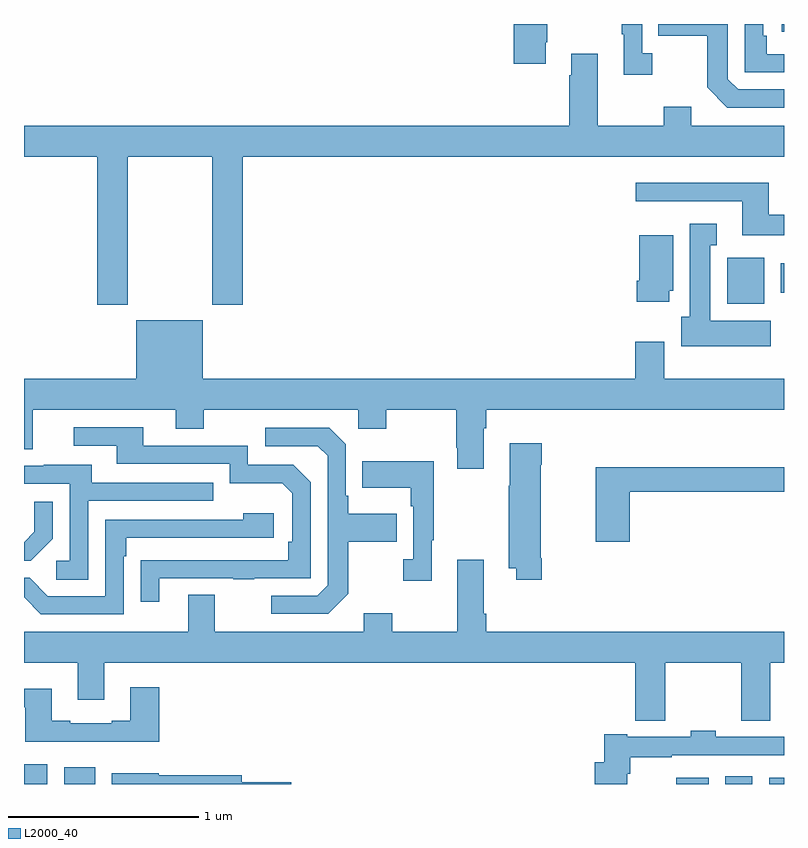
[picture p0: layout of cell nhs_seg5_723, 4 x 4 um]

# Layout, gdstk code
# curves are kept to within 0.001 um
import gdstk
lib = gdstk.Library(unit=1e-6, precision=1e-09)
def R(c, l, rs):  # rectangles x0, y0, x1, y1
    for r in rs: c.add(gdstk.rectangle(r[:2], r[2:], *l))
def P(c, l, *ps):  # polygons
    for p in ps: c.add(gdstk.Polygon(p, *l))
L2000_40 = (2000, 40)

nhs_seg5_723 = lib.new_cell('nhs_seg5_723')
R(nhs_seg5_723, L2000_40, [(157,846.799,157.123,846.904), (157.211,846.799,157.375,846.886), (160.433,846.799,160.603,846.832), (160.691,846.799,160.834,846.841), (160.922,846.799,161,846.832), (160.7,849.326,160.897,849.568), (160.982,849.385,161,849.541), (160.989,850.758,161,850.799)])
P(nhs_seg5_723, L2000_40, [(161,850.455),(160.758,850.455),(160.704,850.509),(160.704,850.799),(160.339,850.799),(160.339,850.738),(160.596,850.738),(160.596,850.465),(160.701,850.359),(161,850.359)],
  [(161,850.641),(160.91,850.641),(160.91,850.738),(160.89,850.738),(160.89,850.799),(160.794,850.799),(160.794,850.545),(161,850.545)],
  [(159.745,850.702),(159.753,850.702),(159.753,850.799),(159.578,850.799),(159.578,850.59),(159.745,850.59)],
  [(160.306,850.646),(160.254,850.646),(160.254,850.799),(160.146,850.799),(160.146,850.745),(160.157,850.745),(160.157,850.533),(160.306,850.533)],
  [(157.545,850.1),(157.99,850.1),(157.99,849.321),(158.15,849.321),(158.15,850.1),(161,850.1),(161,850.264),(160.513,850.264),(160.513,850.363),(160.366,850.363),(160.366,850.264),(160.021,850.264),(160.021,850.642),(159.881,850.642),(159.881,850.529),(159.869,850.529),(159.869,850.264),(157,850.264),(157,850.1),(157.385,850.1),(157.385,849.321),(157.545,849.321)],
  [(161,849.796),(160.921,849.796),(160.921,849.964),(160.221,849.964),(160.221,849.867),(160.781,849.867),(160.781,849.686),(161,849.686)],
  [(160.93,849.238),(160.612,849.238),(160.612,849.635),(160.645,849.635),(160.645,849.748),(160.505,849.748),(160.505,849.258),(160.46,849.258),(160.46,849.104),(160.93,849.104)],
  [(160.396,849.396),(160.417,849.396),(160.417,849.688),(160.238,849.688),(160.238,849.448),(160.226,849.448),(160.226,849.336),(160.396,849.336)],
  [(159.421,848.672),(159.434,848.672),(159.434,848.768),(161,848.768),(161,848.932),(160.369,848.932),(160.369,849.127),(160.217,849.127),(160.217,848.932),(157.942,848.932),(157.942,849.241),(157.592,849.241),(157.592,848.932),(157,848.932),(157,848.56),(157.045,848.56),(157.045,848.768),(157.799,848.768),(157.799,848.669),(157.947,848.669),(157.947,848.768),(158.76,848.768),(158.76,848.669),(158.907,848.669),(158.907,848.768),(159.274,848.768),(159.274,848.569),(159.281,848.569),(159.281,848.457),(159.421,848.457)],
  [(157.711,847.881),(158.101,847.881),(158.101,847.876),(158.213,847.876),(158.213,847.881),(158.508,847.881),(158.508,848.388),(158.418,848.478),(158.178,848.478),(158.178,848.58),(157.627,848.58),(157.627,848.676),(157.263,848.676),(157.263,848.58),(157.487,848.58),(157.487,848.484),(158.082,848.484),(158.082,848.381),(158.359,848.381),(158.412,848.328),(158.412,848.074),(158.392,848.074),(158.392,847.977),(157.615,847.976),(157.615,847.758),(157.711,847.758)],
  [(158.707,847.801),(158.707,848.074),(158.963,848.074),(158.963,848.221),(158.707,848.221),(158.707,848.317),(158.694,848.317),(158.694,848.586),(158.607,848.673),(158.271,848.673),(158.271,848.577),(158.547,848.577),(158.598,848.526),(158.598,847.845),(158.544,847.791),(158.301,847.791),(158.301,847.695),(158.601,847.695)],
  [(159.725,847.987),(159.72,847.987),(159.72,848.48),(159.725,848.48),(159.725,848.593),(159.557,848.593),(159.557,848.369),(159.55,848.369),(159.55,847.934),(159.59,847.934),(159.59,847.875),(159.725,847.875)],
  [(159.145,848.081),(159.157,848.081),(159.157,848.497),(158.779,848.497),(158.779,848.357),(159.036,848.357),(159.036,848.261),(159.048,848.261),(159.048,847.982),(158.997,847.982),(158.997,847.869),(159.145,847.869)],
  [(157.338,848.289),(157.997,848.289),(157.997,848.385),(157.357,848.385),(157.357,848.479),(157.103,848.479),(157.103,848.475),(157,848.475),(157,848.379),(157.242,848.379),(157.242,847.974),(157.17,847.974),(157.17,847.873),(157.338,847.873)],
  [(160.187,848.338),(161,848.338),(161,848.467),(160.009,848.467),(160.009,848.073),(160.187,848.073)],
  [(157.152,848.09),(157.152,848.284),(157.055,848.284),(157.055,848.127),(157,848.072),(157,847.974),(157.036,847.974)],
  [(157.524,847.997),(157.537,847.997),(157.537,848.094),(158.314,848.094),(158.314,848.224),(158.153,848.224),(158.153,848.19),(157.428,848.19),(157.428,847.788),(157.125,847.788),(157.029,847.884),(157,847.884),(157,847.781),(157.089,847.692),(157.524,847.692)],
  [(160.376,847.436),(160.774,847.436),(160.774,847.132),(160.928,847.132),(160.928,847.436),(161,847.436),(161,847.6),(159.434,847.6),(159.434,847.696),(159.421,847.696),(159.421,847.978),(159.281,847.978),(159.281,847.6),(158.937,847.6),(158.937,847.699),(158.789,847.699),(158.789,847.6),(158.005,847.6),(158.005,847.795),(157.865,847.795),(157.865,847.6),(157,847.6),(157,847.436),(157.283,847.436),(157.283,847.242),(157.423,847.242),(157.423,847.436),(160.217,847.436),(160.217,847.132),(160.376,847.132)],
  [(157.712,847.309),(157.559,847.309),(157.559,847.132),(157.463,847.132),(157.463,847.119),(157.243,847.119),(157.243,847.132),(157.147,847.132),(157.147,847.3),(157,847.3),(157,847.203),(157.007,847.203),(157.007,847.022),(157.712,847.022)],
  [(160.174,846.854),(160.192,846.854),(160.192,846.939),(160.409,846.939),(160.409,846.951),(161,846.951),(161,847.047),(160.641,847.047),(160.641,847.08),(160.509,847.08),(160.509,847.047),(160.174,847.047),(160.174,847.06),(160.053,847.06),(160.053,846.913),(160.004,846.913),(160.004,846.799),(160.174,846.799)],
  [(158.407,846.809),(158.146,846.809),(158.146,846.845),(157.71,846.845),(157.71,846.856),(157.463,846.856),(157.463,846.799),(158.407,846.799)])

lib.write_gds('nhs_seg5_723.gds')
